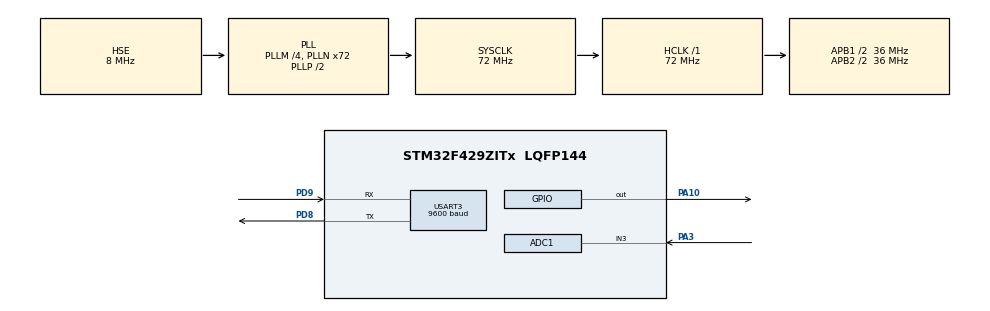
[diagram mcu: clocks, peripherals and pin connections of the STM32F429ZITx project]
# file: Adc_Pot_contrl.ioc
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ADC1.Channel-4\#ChannelRegularConversion=ADC_CHANNEL_3
ADC1.NbrOfConversionFlag=1
ADC1.Rank-4\#ChannelRegularConversion=1
ADC1.SamplingTime-4\#ChannelRegularConversion=ADC_SAMPLETIME_3CYCLES
ADC1.master=1
Dma.ADC1.0.Direction=DMA_PERIPH_TO_MEMORY
Dma.ADC1.0.FIFOMode=DMA_FIFOMODE_DISABLE
Dma.ADC1.0.Instance=DMA2_Stream0
Dma.ADC1.0.MemDataAlignment=DMA_MDATAALIGN_WORD
Dma.ADC1.0.MemInc=DMA_MINC_ENABLE
Dma.ADC1.0.Mode=DMA_CIRCULAR
Dma.ADC1.0.PeriphDataAlignment=DMA_PDATAALIGN_WORD
Dma.ADC1.0.PeriphInc=DMA_PINC_DISABLE
Dma.ADC1.0.Priority=DMA_PRIORITY_LOW
Dma.Request0=ADC1
Mcu.Family=STM32F4
Mcu.Name=STM32F429ZITx
Mcu.Package=LQFP144
NVIC.ADC_IRQn=true\:0\:0\:false\:false\:true\:true\:true\:true
NVIC.DMA2_Stream0_IRQn=true\:0\:0\:false\:false\:true\:false\:true\:true
NVIC.PriorityGroup=NVIC_PRIORITYGROUP_4
NVIC.TIM2_IRQn=true\:0\:0\:false\:false\:true\:true\:true\:true
PA10.Signal=GPIO_Output
PA13.Mode=Serial_Wire
PA13.Signal=SYS_JTMS-SWDIO
PA14.Mode=Serial_Wire
PA14.Signal=SYS_JTCK-SWCLK
PA3.Signal=ADCx_IN3
PD8.Mode=Asynchronous
PD8.Signal=USART3_TX
PD9.Mode=Asynchronous
PD9.Signal=USART3_RX
PH0/OSC_IN.Mode=HSE-External-Oscillator
PH0/OSC_IN.Signal=RCC_OSC_IN
PH1/OSC_OUT.Mode=HSE-External-Oscillator
PH1/OSC_OUT.Signal=RCC_OSC_OUT
ProjectManager.HeapSize=0x200
ProjectManager.StackSize=0x400
ProjectManager.TargetToolchain=STM32CubeIDE
RCC.48MHZClocksFreq_Value=36000000
RCC.AHBFreq_Value=72000000
RCC.APB1CLKDivider=RCC_HCLK_DIV2
RCC.APB1Freq_Value=36000000
RCC.APB1TimFreq_Value=72000000
RCC.APB2CLKDivider=RCC_HCLK_DIV2
RCC.APB2Freq_Value=36000000
RCC.APB2TimFreq_Value=72000000
RCC.CortexFreq_Value=72000000
RCC.HCLKFreq_Value=72000000
RCC.HSE_VALUE=8000000
RCC.HSI_VALUE=16000000
RCC.LSE_VALUE=32768
RCC.PLLM=4
RCC.PLLN=72
RCC.PLLSourceVirtual=RCC_PLLSOURCE_HSE
RCC.SYSCLKFreq_VALUE=72000000
RCC.SYSCLKSource=RCC_SYSCLKSOURCE_PLLCLK
RCC.VCOOutputFreq_Value=144000000
SH.ADCx_IN3.0=ADC1_IN3,IN3
TIM2.Prescaler=17999
USART3.BaudRate=9600
USART3.VirtualMode=VM_ASYNC
VP_TIM2_VS_ClockSourceINT.Mode=Internal
board=custom

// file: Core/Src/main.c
/* USER CODE BEGIN Header */
/**
  ******************************************************************************
  * @file           : main.c
  * @brief          : Main program body
  ******************************************************************************
  * @attention
  *
  * Copyright (c) 2022 STMicroelectronics.
  * All rights reserved.
  *
  * This software is licensed under terms that can be found in the LICENSE file
  * in the root directory of this software component.
  * If no LICENSE file comes with this software, it is provided AS-IS.
  *
  ******************************************************************************
  */
/* USER CODE END Header */
#include "main.h"

/* USER CODE BEGIN Includes */

#define DMABUFF 10

uint32_t adc_val;
uint8_t buffer_uart[] = "WELCOME TO HART";

/* USER CODE END Includes */

 ADC_HandleTypeDef hadc1;
DMA_HandleTypeDef hdma_adc1;

TIM_HandleTypeDef htim2;

UART_HandleTypeDef huart3;

void SystemClock_Config(void);
static void MX_GPIO_Init(void);
static void MX_ADC1_Init(void);
static void MX_DMA_Init(void);
static void MX_USART3_UART_Init(void);
static void MX_TIM2_Init(void);

/* USER CODE BEGIN 0 */

void TIM6Config (void)
{
	/************** STEPS TO FOLLOW *****************
	1. Enable Timer clock
	2. Set the prescalar and the ARR
	3. Enable the Timer, and wait for the update Flag to set
	************************************************/

// 1. Enable Timer clock
	RCC->APB1ENR |= (1<<4);  // Enable the timer6 clock

// 2. Set the prescalar and the ARR
	TIM6->PSC = 45-1;  // 45MHz/45 = 1 MHz ~~ 1 uS delay
	TIM6->ARR = 0xffff;  // MAX ARR value

// 3. Enable the Timer, and wait for the update Flag to set
	TIM6->CR1 |= (1<<0); // Enable the Counter
	while (!(TIM6->SR & (1<<0)));  // UIF: Update interrupt flag..  This bit is set by hardware when the registers are updated
}

void Delay_us (uint32_t us)
{
	/************** STEPS TO FOLLOW *****************
	1. RESET the Counter
	2. Wait for the Counter to reach the entered value. As each count will take 1 us,
		 the total waiting time will be the required us delay
	************************************************/
	TIM6->CNT = 0;
	while (TIM6->CNT < us);
}

void Delay_ms (uint32_t ms)
{
	for (uint16_t i=0; i<ms; i++)
	{
		Delay_us (1000); // delay of 1 ms
	}
}

/* USER CODE END 0 */

int main(void)
{
  /* USER CODE BEGIN 1 */
	uint16_t raw;
	char msg[10];

  /* USER CODE END 1 */

  /* MCU Configuration--------------------------------------------------------*/

  /* Reset of all peripherals, Initializes the Flash interface and the Systick. */
  HAL_Init();

  /* Configure the system clock */
  SystemClock_Config();

  /* Initialize all configured peripherals */
  MX_GPIO_Init();
  MX_ADC1_Init();
  MX_DMA_Init();
  MX_USART3_UART_Init();
  MX_TIM2_Init();
  /* USER CODE BEGIN 2 */

  TIM6Config();

//  HAL_ADC_IRQHandler(&hadc1);

  /* USER CODE END 2 */

  /* Infinite loop */
  /* USER CODE BEGIN WHILE */
  while (1)
  {
//	  HAL_GPIO_WritePin(GPIOA, GPIO_PIN_3, GPIO_PIN_SET);

	 HAL_ADC_Start(&hadc1);
	 HAL_ADC_PollForConversion(&hadc1, HAL_MAX_DELAY);
	 raw = HAL_ADC_GetValue(&hadc1);
	 HAL_ADC_Stop(&hadc1);
	 if (raw > 3300)
	 {
		 raw = 3298;
	 }

	 Delay_ms(3000);
//	 HAL_GPIO_WritePin(GPIOA, GPIO_PIN_3, GPIO_PIN_RESET);

	 sprintf(msg,"%hu\r\n",raw);

	 HAL_UART_Transmit(&huart3, (uint8_t*)msg, strlen(msg), HAL_MAX_DELAY);

    /* USER CODE END WHILE */

    /* USER CODE BEGIN 3 */

	 // UART2_SendChar (USART3,'A');
  }
  /* USER CODE END 3 */
}

void SystemClock_Config(void)
{
  RCC_OscInitTypeDef RCC_OscInitStruct = {0};
  RCC_ClkInitTypeDef RCC_ClkInitStruct = {0};

  /** Configure the main internal regulator output voltage
  */
  __HAL_RCC_PWR_CLK_ENABLE();
  __HAL_PWR_VOLTAGESCALING_CONFIG(PWR_REGULATOR_VOLTAGE_SCALE3);

  /** Initializes the RCC Oscillators according to the specified parameters
  * in the RCC_OscInitTypeDef structure.
  */
  RCC_OscInitStruct.OscillatorType = RCC_OSCILLATORTYPE_HSE;
  RCC_OscInitStruct.HSEState = RCC_HSE_ON;
  RCC_OscInitStruct.PLL.PLLState = RCC_PLL_ON;
  RCC_OscInitStruct.PLL.PLLSource = RCC_PLLSOURCE_HSE;
  RCC_OscInitStruct.PLL.PLLM = 4;
  RCC_OscInitStruct.PLL.PLLN = 72;
  RCC_OscInitStruct.PLL.PLLP = RCC_PLLP_DIV2;
  RCC_OscInitStruct.PLL.PLLQ = 4;
  if (HAL_RCC_OscConfig(&RCC_OscInitStruct) != HAL_OK)
  {
    Error_Handler();
  }

  /** Initializes the CPU, AHB and APB buses clocks
  */
  RCC_ClkInitStruct.ClockType = RCC_CLOCKTYPE_HCLK|RCC_CLOCKTYPE_SYSCLK
                              |RCC_CLOCKTYPE_PCLK1|RCC_CLOCKTYPE_PCLK2;
  RCC_ClkInitStruct.SYSCLKSource = RCC_SYSCLKSOURCE_PLLCLK;
  RCC_ClkInitStruct.AHBCLKDivider = RCC_SYSCLK_DIV1;
  RCC_ClkInitStruct.APB1CLKDivider = RCC_HCLK_DIV2;
  RCC_ClkInitStruct.APB2CLKDivider = RCC_HCLK_DIV2;

  if (HAL_RCC_ClockConfig(&RCC_ClkInitStruct, FLASH_LATENCY_2) != HAL_OK)
  {
    Error_Handler();
  }
}

static void MX_ADC1_Init(void)
{

  ADC_ChannelConfTypeDef sConfig = {0};

  /** Configure the global features of the ADC (Clock, Resolution, Data Alignment and number of conversion)
  */
  hadc1.Instance = ADC1;
  hadc1.Init.ClockPrescaler = ADC_CLOCK_SYNC_PCLK_DIV2;
  hadc1.Init.Resolution = ADC_RESOLUTION_12B;
  hadc1.Init.ScanConvMode = DISABLE;
  hadc1.Init.ContinuousConvMode = DISABLE;
  hadc1.Init.DiscontinuousConvMode = DISABLE;
  hadc1.Init.ExternalTrigConvEdge = ADC_EXTERNALTRIGCONVEDGE_NONE;
  hadc1.Init.ExternalTrigConv = ADC_SOFTWARE_START;
  hadc1.Init.DataAlign = ADC_DATAALIGN_RIGHT;
  hadc1.Init.NbrOfConversion = 1;
  hadc1.Init.DMAContinuousRequests = DISABLE;
  hadc1.Init.EOCSelection = ADC_EOC_SINGLE_CONV;
  if (HAL_ADC_Init(&hadc1) != HAL_OK)
  {
    Error_Handler();
  }

  /** Configure for the selected ADC regular channel its corresponding rank in the sequencer and its sample time.
  */
  sConfig.Channel = ADC_CHANNEL_3;
  sConfig.Rank = 1;
  sConfig.SamplingTime = ADC_SAMPLETIME_3CYCLES;
  if (HAL_ADC_ConfigChannel(&hadc1, &sConfig) != HAL_OK)
  {
    Error_Handler();
  }

}

static void MX_TIM2_Init(void)
{

  TIM_ClockConfigTypeDef sClockSourceConfig = {0};
  TIM_MasterConfigTypeDef sMasterConfig = {0};

  htim2.Instance = TIM2;
  htim2.Init.Prescaler = 17999;
  htim2.Init.CounterMode = TIM_COUNTERMODE_UP;
  htim2.Init.Period = 4294967295;
  htim2.Init.ClockDivision = TIM_CLOCKDIVISION_DIV1;
  htim2.Init.AutoReloadPreload = TIM_AUTORELOAD_PRELOAD_DISABLE;
  if (HAL_TIM_Base_Init(&htim2) != HAL_OK)
  {
    Error_Handler();
  }
  sClockSourceConfig.ClockSource = TIM_CLOCKSOURCE_INTERNAL;
  if (HAL_TIM_ConfigClockSource(&htim2, &sClockSourceConfig) != HAL_OK)
  {
    Error_Handler();
  }
  sMasterConfig.MasterOutputTrigger = TIM_TRGO_RESET;
  sMasterConfig.MasterSlaveMode = TIM_MASTERSLAVEMODE_DISABLE;
  if (HAL_TIMEx_MasterConfigSynchronization(&htim2, &sMasterConfig) != HAL_OK)
  {
    Error_Handler();
  }

}

static void MX_USART3_UART_Init(void)
{

  huart3.Instance = USART3;
  huart3.Init.BaudRate = 9600;
  huart3.Init.WordLength = UART_WORDLENGTH_8B;
  huart3.Init.StopBits = UART_STOPBITS_1;
  huart3.Init.Parity = UART_PARITY_NONE;
  huart3.Init.Mode = UART_MODE_TX_RX;
  huart3.Init.HwFlowCtl = UART_HWCONTROL_NONE;
  huart3.Init.OverSampling = UART_OVERSAMPLING_16;
  if (HAL_UART_Init(&huart3) != HAL_OK)
  {
    Error_Handler();
  }

}

static void MX_DMA_Init(void)
{

  /* DMA controller clock enable */
  __HAL_RCC_DMA2_CLK_ENABLE();

  /* DMA interrupt init */
  /* DMA2_Stream0_IRQn interrupt configuration */
  HAL_NVIC_SetPriority(DMA2_Stream0_IRQn, 0, 0);
  HAL_NVIC_EnableIRQ(DMA2_Stream0_IRQn);

}

static void MX_GPIO_Init(void)
{
  GPIO_InitTypeDef GPIO_InitStruct = {0};

  /* GPIO Ports Clock Enable */
  __HAL_RCC_GPIOH_CLK_ENABLE();
  __HAL_RCC_GPIOA_CLK_ENABLE();
  __HAL_RCC_GPIOD_CLK_ENABLE();

  /*Configure GPIO pin Output Level */
  HAL_GPIO_WritePin(GPIOA, GPIO_PIN_10, GPIO_PIN_RESET);

  /*Configure GPIO pin : PA10 */
  GPIO_InitStruct.Pin = GPIO_PIN_10;
  GPIO_InitStruct.Mode = GPIO_MODE_OUTPUT_PP;
  GPIO_InitStruct.Pull = GPIO_NOPULL;
  GPIO_InitStruct.Speed = GPIO_SPEED_FREQ_LOW;
  HAL_GPIO_Init(GPIOA, &GPIO_InitStruct);

}

/* USER CODE BEGIN 4 */
//
//void HAL_TIM_PeriodElapsedCallback(TIM_HandleTypeDef *htim) {
//      // start the ADC->DMA conversion
//   //   get_adc_dma();
//	if (&htim == &htim2)
//	{
//		HAL_UART_Transmit(&huart3, buffer_uart,sizeof(buffer_uart), 100);
//	}
//}

/* USER CODE END 4 */

void Error_Handler(void)
{
  __disable_irq();
  while (1)
  {
  }
}
